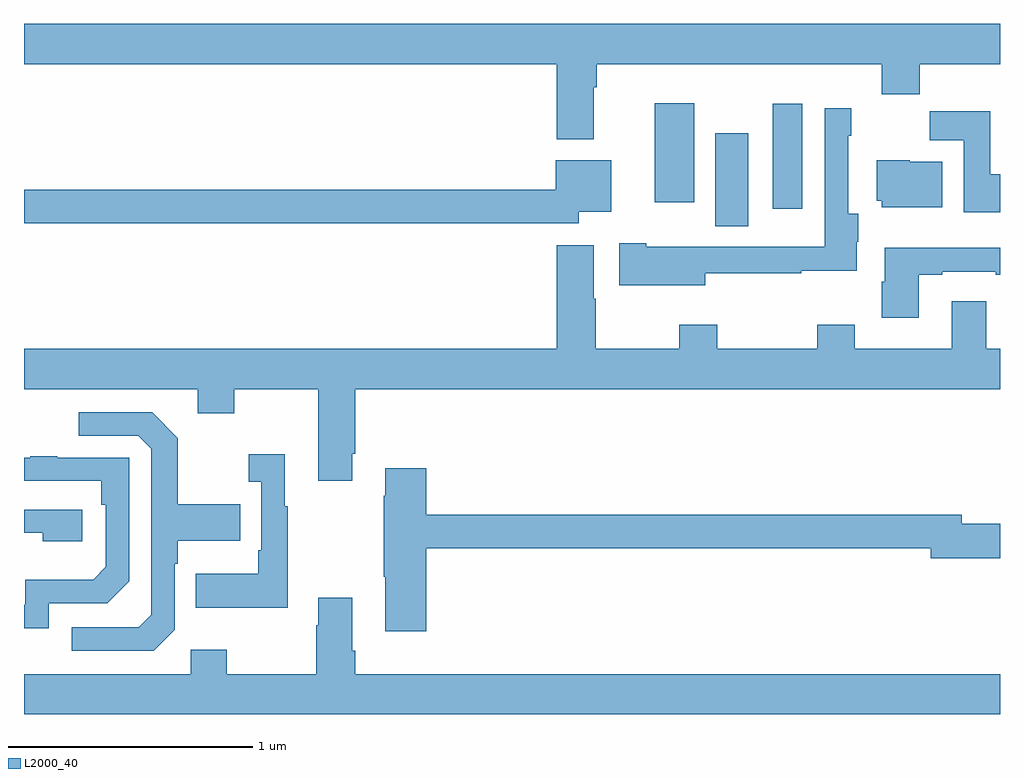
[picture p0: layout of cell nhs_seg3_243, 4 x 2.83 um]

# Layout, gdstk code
import gdstk
lib = gdstk.Library(unit=1e-6, precision=1e-09)
def R(c, l, rs):  # rectangles x0, y0, x1, y1
    for r in rs: c.add(gdstk.rectangle(r[:2], r[2:], *l))
def P(c, l, *ps):  # polygons
    for p in ps: c.add(gdstk.Polygon(p, *l))
L2000_40 = (2000, 40)

nhs_seg3_243 = lib.new_cell('nhs_seg3_243')
R(nhs_seg3_243, L2000_40, [(125.834,674.944,125.968,675.325), (126.068,675.015,126.19,675.445), (125.585,675.042,125.746,675.448)])
P(nhs_seg3_243, L2000_40, [(125.335,675.512),(125.348,675.512),(125.348,675.608),(126.515,675.608),(126.515,675.484),(126.671,675.484),(126.671,675.608),(127,675.608),(127,675.772),(123,675.772),(123,675.608),(125.183,675.608),(125.183,675.299),(125.335,675.299)],
  [(125.791,674.751),(126.185,674.751),(126.185,674.761),(126.412,674.761),(126.412,674.879),(126.42,674.879),(126.42,674.995),(126.378,674.995),(126.378,675.314),(126.391,675.314),(126.391,675.427),(126.282,675.427),(126.282,674.86),(126.072,674.86),(126.072,674.859),(125.551,674.859),(125.551,674.873),(125.439,674.873),(125.439,674.702),(125.791,674.702)],
  [(127,675.156),(126.961,675.156),(126.961,675.415),(126.712,675.415),(126.712,675.296),(126.851,675.296),(126.851,675),(127,675)],
  [(126.763,675.208),(126.63,675.208),(126.63,675.214),(126.494,675.214),(126.494,675.048),(126.516,675.048),(126.516,675.02),(126.763,675.02)],
  [(125.274,675.002),(125.407,675.002),(125.407,675.214),(125.18,675.214),(125.18,675.092),(123,675.092),(123,674.956),(125.274,674.956)],
  [(124.345,674.011),(124.358,674.011),(124.358,674.276),(127,674.276),(127,674.44),(126.943,674.44),(126.943,674.635),(126.803,674.635),(126.803,674.44),(126.405,674.44),(126.405,674.539),(126.25,674.539),(126.25,674.44),(125.841,674.44),(125.841,674.539),(125.686,674.539),(125.686,674.44),(125.343,674.44),(125.343,674.645),(125.335,674.645),(125.335,674.866),(125.183,674.866),(125.183,674.44),(123,674.44),(123,674.276),(123.713,674.276),(123.713,674.177),(123.861,674.177),(123.861,674.276),(124.205,674.276),(124.205,673.899),(124.345,673.899)],
  [(126.667,674.745),(126.763,674.745),(126.763,674.757),(126.983,674.757),(126.983,674.745),(127,674.745),(127,674.854),(126.527,674.854),(126.527,674.715),(126.515,674.715),(126.515,674.568),(126.667,674.568)],
  [(123.618,673.29),(123.618,673.559),(123.631,673.559),(123.631,673.655),(123.887,673.655),(123.887,673.803),(123.631,673.803),(123.631,674.075),(123.525,674.181),(123.225,674.181),(123.225,674.085),(123.468,674.085),(123.522,674.031),(123.522,673.35),(123.471,673.299),(123.195,673.299),(123.195,673.203),(123.531,673.203)],
  [(124.081,673.795),(124.069,673.795),(124.069,674.008),(123.921,674.008),(123.921,673.895),(123.972,673.895),(123.972,673.615),(123.96,673.615),(123.96,673.519),(123.703,673.519),(123.703,673.379),(124.081,673.379)],
  [(123.102,673.398),(123.342,673.398),(123.432,673.488),(123.432,673.995),(123.137,673.995),(123.137,674),(123.025,674),(123.025,673.995),(123,673.995),(123,673.899),(123.316,673.899),(123.316,673.802),(123.336,673.802),(123.336,673.548),(123.283,673.495),(123.006,673.495),(123.006,673.392),(123,673.392),(123,673.296),(123.102,673.296)],
  [(124.649,673.624),(126.716,673.624),(126.716,673.582),(127,673.582),(127,673.724),(126.844,673.724),(126.844,673.76),(124.649,673.76),(124.649,673.951),(124.481,673.951),(124.481,673.838),(124.474,673.838),(124.474,673.507),(124.481,673.507),(124.481,673.284),(124.649,673.284)],
  [(123.238,673.782),(123,673.782),(123,673.686),(123.077,673.686),(123.077,673.652),(123.238,673.652)],
  [(127,673.108),(124.358,673.108),(124.358,673.204),(124.345,673.204),(124.345,673.42),(124.205,673.42),(124.205,673.307),(124.198,673.307),(124.198,673.108),(123.831,673.108),(123.831,673.207),(123.684,673.207),(123.684,673.108),(123,673.108),(123,672.944),(127,672.944)])

lib.write_gds('nhs_seg3_243.gds')
